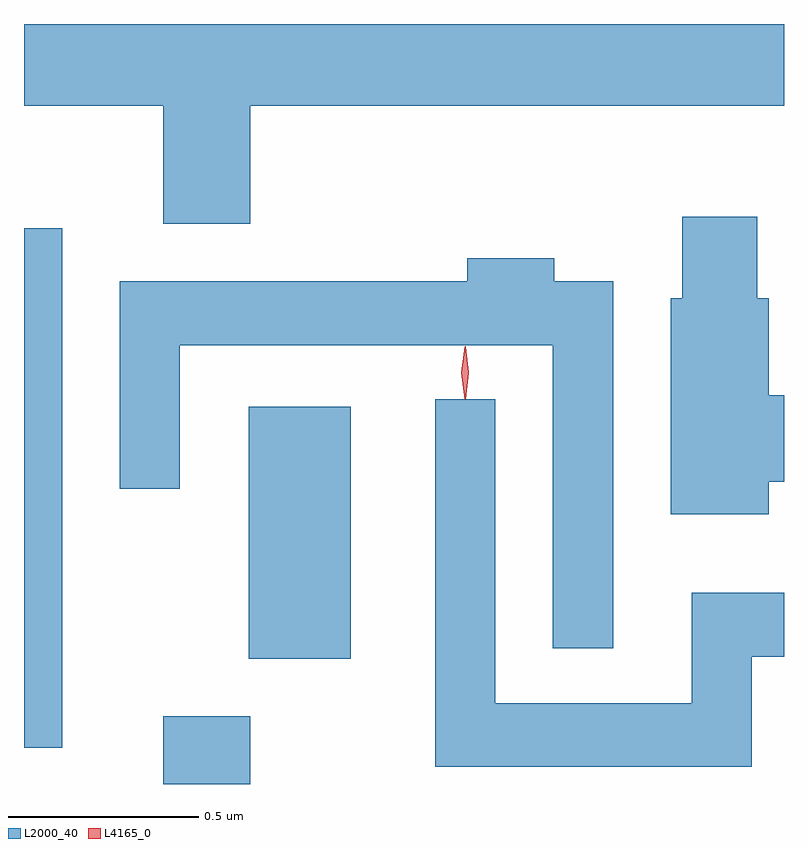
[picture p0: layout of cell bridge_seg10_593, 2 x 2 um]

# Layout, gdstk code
import gdstk
lib = gdstk.Library(unit=1e-6, precision=1e-09)
def R(c, l, rs):  # rectangles x0, y0, x1, y1
    for r in rs: c.add(gdstk.rectangle(r[:2], r[2:], *l))
def P(c, l, *ps):  # polygons
    for p in ps: c.add(gdstk.Polygon(p, *l))
L2000_40 = (2000, 40)
L4165_0 = (4165, 0)

bridge_seg10_593 = lib.new_cell('bridge_seg10_593')
R(bridge_seg10_593, L2000_40, [(770.781,2176.511,771.009,2176.689), (770.414,2176.606,770.514,2177.973), (771.006,2176.841,771.274,2177.504)])
P(bridge_seg10_593, L2000_40, [(771.009,2178.296),(772.414,2178.296),(772.414,2178.511),(770.414,2178.511),(770.414,2178.296),(770.781,2178.296),(770.781,2177.986),(771.009,2177.986)],
  [(772.374,2177.306),(772.414,2177.306),(772.414,2177.534),(772.374,2177.534),(772.374,2177.789),(772.344,2177.789),(772.344,2178.004),(772.146,2178.004),(772.146,2177.789),(772.116,2177.789),(772.116,2177.221),(772.374,2177.221)],
  [(771.964,2177.834),(771.809,2177.834),(771.809,2177.894),(771.581,2177.894),(771.581,2177.834),(770.666,2177.834),(770.666,2177.288),(770.824,2177.288),(770.824,2177.666),(771.806,2177.666),(771.806,2176.868),(771.964,2176.868)],
  [(772.329,2176.846),(772.414,2176.846),(772.414,2177.014),(772.171,2177.014),(772.171,2176.724),(771.654,2176.724),(771.654,2177.523),(771.496,2177.523),(771.496,2176.556),(772.329,2176.556)])
P(bridge_seg10_593, L4165_0, [(771.574,2177.524),(771.565,2177.593),(771.574,2177.662),(771.575,2177.663),(771.576,2177.662),(771.585,2177.593),(771.576,2177.524),(771.575,2177.524)],
  [(771.575,2177.527),(771.574,2177.528),(771.565,2177.594),(771.574,2177.66),(771.575,2177.66),(771.576,2177.66),(771.585,2177.594),(771.575,2177.528)])

lib.write_gds('bridge_seg10_593.gds')
